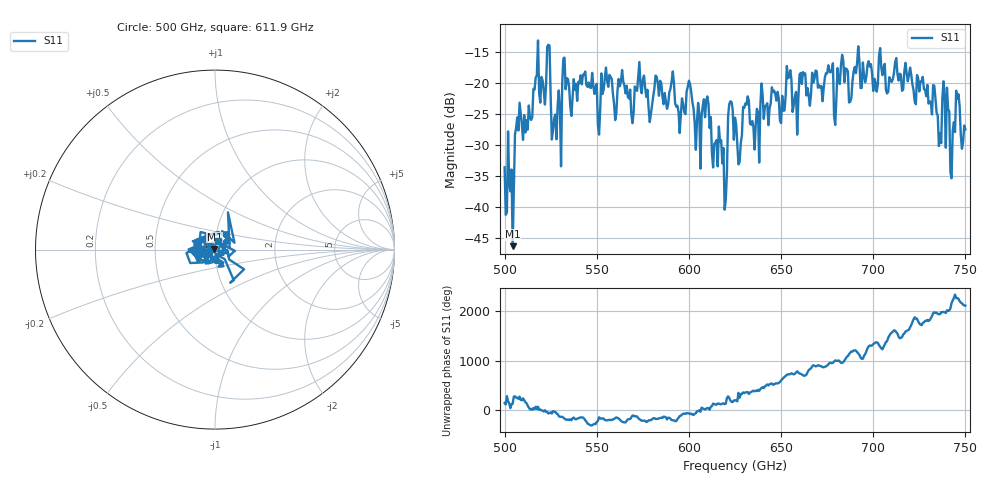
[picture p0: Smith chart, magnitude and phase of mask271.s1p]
!Created with skrf (http://scikit-rf.org).
# GHz S MA R 50.0
!freq magS11 angS11
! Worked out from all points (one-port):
!   401 points, 500 GHz to 750 GHz, reference 50 ohm
!   lowest |S11| = -46.4 dB at 504.4 GHz (marker M1), VSWR 1.01, Z = 49.7 + j0.373 ohm
!   |S11| at or under -10 dB: start of sweep to end of sweep
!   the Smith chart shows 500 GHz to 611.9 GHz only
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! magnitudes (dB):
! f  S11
! 500 GHz  -33.6
! 504.4 GHz  -46.4
! 506.9 GHz  -25.6
! 513.8 GHz  -25.6
! 516.9 GHz  -19.1
! 523.8 GHz  -13.9
! 526.9 GHz  -25.8
! 531.2 GHz  -20.2
! 562.5 GHz  -20.6
! 579.4 GHz  -25.0
! 590.6 GHz  -19.8
! 593.8 GHz  -23.7
! 609.4 GHz  -22.9
! 619.4 GHz  -40.5
! 622.5 GHz  -23.0
! 625 GHz  -25.6
! 627.5 GHz  -32.8
! 631.2 GHz  -23.5
! 636.9 GHz  -24.2
! 656.2 GHz  -24.7
! 687.5 GHz  -23.1
! 691.2 GHz  -16.8
! 718.8 GHz  -19.8
! 735.6 GHz  -30.2
! 738.8 GHz  -22.4
! 743.1 GHz  -27.8
! 745.6 GHz  -22.6
! 750 GHz  -27.5
